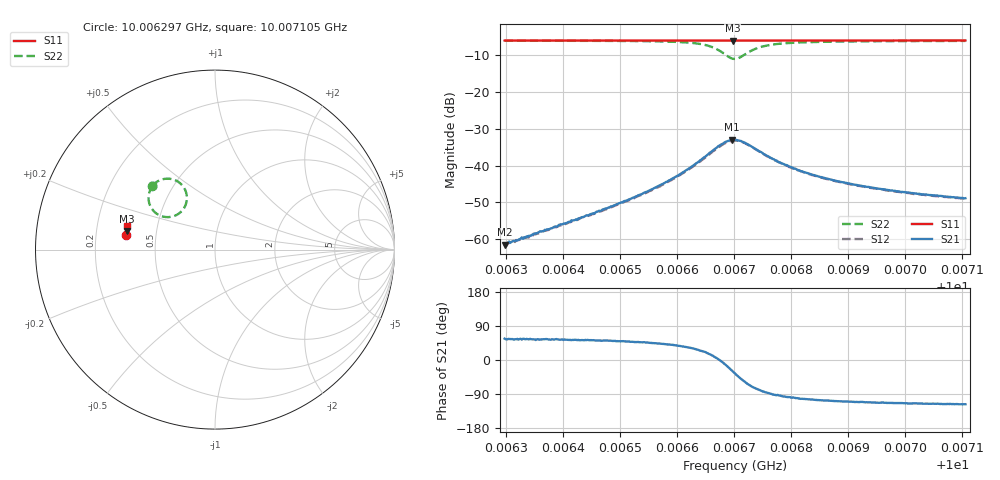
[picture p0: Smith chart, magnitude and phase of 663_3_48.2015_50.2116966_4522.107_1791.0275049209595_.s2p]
#  HZ  S  RI  R  50.00
! Rohde & Schwarz Vector Network Analyzer
! Rohde-Schwarz,ZNB20-2Port,1311601062101988,3.16
! Created: UTC 3/20/2024, 12:05:49 PM
! freq[Hz]  re:S11  im:S11  re:S21  im:S21  re:S12  im:S12  re:S22  im:S22
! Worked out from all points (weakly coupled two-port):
!   401 points, 10.006297 GHz to 10.007105 GHz, reference 50 ohm
!   highest |S21| = -32.95 dB at 10.006695 GHz (marker M1); lowest = -61.5 dB at 10.006297 GHz (marker M2)
!   lowest |S11| = -6.0 dB at 10.006697 GHz (marker M3), VSWR 3.02, Z = 16.7 + j4.67 ohm
!   |S11| at or under -10 dB: nowhere
!   |S22| runs from -11.0 to -6.0 dB; largest |S21 - S12| = 0.0018
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1.00062972e10  -0.4976 0.0793  0.000469 0.0007  0.000482 0.000701  -0.3506 0.3564
1.00064325e10  -0.4964 0.0882  0.00121 0.00158  0.00111 0.00165  -0.3358 0.3693
1.00064568e10  -0.4961 0.0898  0.00143 0.00182  0.00127 0.00186  -0.3319 0.3723
1.00065133e10  -0.4954 0.0935  0.00224 0.00258  0.0021 0.00258  -0.32 0.3802
1.00065679e10  -0.4948 0.0971  0.00387 0.00368  0.00356 0.00375  -0.3 0.3892
1.00066083e10  -0.494 0.0999  0.00645 0.00471  0.00602 0.00491  -0.2717 0.395
1.00066487e10  -0.493 0.1026  0.0123 0.00482  0.0117 0.00517  -0.2145 0.3833
1.00066648e10  -0.4925 0.1036  0.0165 0.00251  0.0157 0.00344  -0.181 0.3563
1.0006679e10  -0.4917 0.1043  0.0197 -0.00185  0.0192 -0.000622  -0.1583 0.3081
1.00066951e10  -0.4913 0.1043  0.02 -0.0103  0.0201 -0.00844  -0.1724 0.2315
1.00066971e10  -0.4912 0.1044  0.0195 -0.0112  0.0197 -0.00958  -0.1786 0.2228
1.00067012e10  -0.4913 0.1043  0.0182 -0.0132  0.0187 -0.0115  -0.1933 0.2071
1.00067093e10  -0.4914 0.1046  0.015 -0.0159  0.0158 -0.0145  -0.2293 0.1865
1.00067194e10  -0.4918 0.1048  0.0106 -0.0174  0.0116 -0.0164  -0.275 0.1814
1.00067335e10  -0.4921 0.1058  0.00536 -0.0168  0.00643 -0.0163  -0.3225 0.1986
1.00067476e10  -0.4924 0.1068  0.00227 -0.0151  0.00308 -0.0148  -0.349 0.2237
1.000678e10  -0.4924 0.1092  -0.000803 -0.011  -0.000269 -0.011  -0.3688 0.2695
1.00068002e10  -0.4922 0.1105  -0.00156 -0.00933  -0.00107 -0.00929  -0.3704 0.2881
1.00068365e10  -0.4919 0.1131  -0.00188 -0.00733  -0.00147 -0.0073  -0.3681 0.3101
1.00069072e10  -0.491 0.1179  -0.00195 -0.00524  -0.00167 -0.0053  -0.3604 0.3334
1.00069719e10  -0.4902 0.1219  -0.00185 -0.00426  -0.00159 -0.00428  -0.3541 0.3456
1.00071052e10  -0.4882 0.1305  -0.00162 -0.00323  -0.00143 -0.00328  -0.3433 0.361
